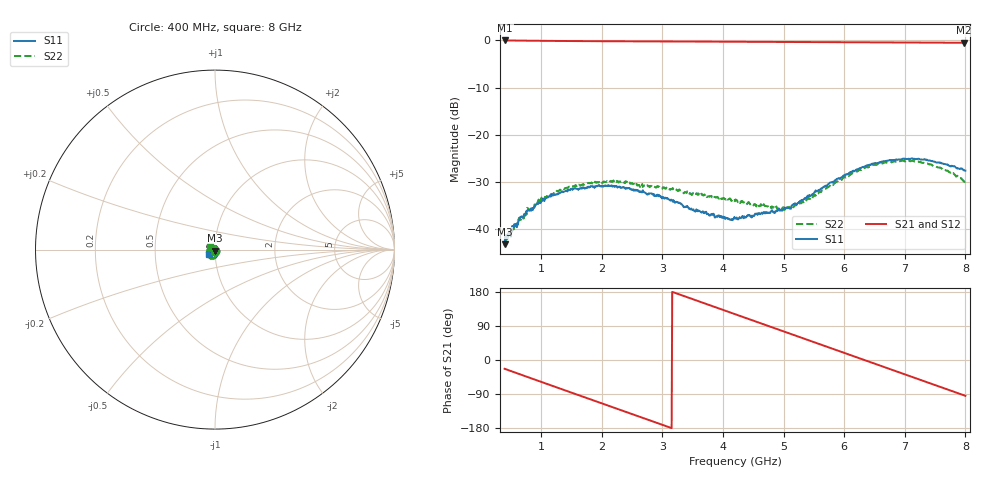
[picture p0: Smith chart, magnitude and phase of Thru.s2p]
!Agilent Technologies,N5227A,US51270349,A.09.80.20
!Agilent N5227A: A.09.80.20
!Date: Wednesday, February 17, 2021 19:56:43
!Correction: S11(Full 2 Port(1,2))
!S21(Full 2 Port(1,2))
!S12(Full 2 Port(1,2))
!S22(Full 2 Port(1,2))
!S2P File: Measurements: S11, S21, S12, S22:
# Hz S  RI  R 50
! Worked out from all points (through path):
!   801 points, 400 MHz to 8 GHz, reference 50 ohm
!   highest |S21| = -0.02 dB at 409.5 MHz (marker M1); lowest = -0.5 dB at 7.981 GHz (marker M2)
!   group delay of S21, straight-line fit = 158 ps
!   lowest |S11| = -43.3 dB at 400 MHz (marker M3), VSWR 1.01, Z = 49.9 - j0.683 ohm
!   |S11| at or under -10 dB: start of sweep to end of sweep
!   |S22| runs from -43.7 to -25.4 dB; largest |S21 - S12| = 0.0042
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4e8  -0.000519 -0.00683  0.9164 -0.3929  0.9153 -0.3926  -0.000989 -0.00649
4.095e8  -0.000498 -0.00803  0.9131 -0.4016  0.9113 -0.401  -0.00131 -0.00717
6.85e8  -0.00502 -0.0124  0.7657 -0.6325  0.7647 -0.632  -0.00378 -0.0128
9.795e8  -0.0114 -0.0151  0.5479 -0.8244  0.5471 -0.8231  -0.0088 -0.017
1.331e9  -0.0205 -0.0133  0.2326 -0.9576  0.2321 -0.9561  -0.0194 -0.0167
1.673e9  -0.0258 -0.00691  -0.0986 -0.9767  -0.0985 -0.9755  -0.0265 -0.0127
2.243e9  -0.0272 0.0086  -0.6023 -0.7701  -0.602 -0.7684  -0.0315 0.00235
2.604e9  -0.0195 0.0162  -0.8316 -0.5101  -0.8309 -0.5079  -0.0266 0.0118
2.9365e9  -0.0104 0.0205  -0.9501 -0.2132  -0.9491 -0.2125  -0.0215 0.0178
3.535e9  0.006 0.0143  -0.9049 0.3523  -0.9032 0.3532  -0.0105 0.0212
4.2e9  0.013 -0.000716  -0.4985 0.8292  -0.496 0.8288  3.07e-05 0.0197
4.5135e9  0.0122 -0.00634  -0.2205 0.9401  -0.2185 0.9391  0.00658 0.0171
4.827e9  0.0111 -0.0103  0.0773 0.9607  0.0791 0.9591  0.0122 0.0119
5.1405e9  0.00972 -0.0149  0.3663 0.8891  0.3676 0.8867  0.0172 0.00368
5.473e9  0.0122 -0.0199  0.6326 0.7216  0.6336 0.7186  0.0192 -0.00894
5.8055e9  0.0119 -0.0286  0.8299 0.4767  0.8295 0.4736  0.0167 -0.0245
6.119e9  0.00789 -0.0395  0.9333 0.1996  0.9324 0.1973  0.00703 -0.0373
6.423e9  -0.0003 -0.0479  0.9484 -0.0855  0.9463 -0.0876  -0.00711 -0.0451
6.7365e9  -0.013 -0.0519  0.8747 -0.3695  0.872 -0.3716  -0.0236 -0.0454
7.392e9  -0.0335 -0.0413  0.4721 -0.8196  0.4686 -0.8193  -0.0453 -0.018
7.981e9  -0.0327 -0.0258  -0.0565 -0.9409  -0.0598 -0.9385  -0.0289 0.0135
8e9  -0.0333 -0.0249  -0.0745 -0.9398  -0.0775 -0.9377  -0.0287 0.0132
